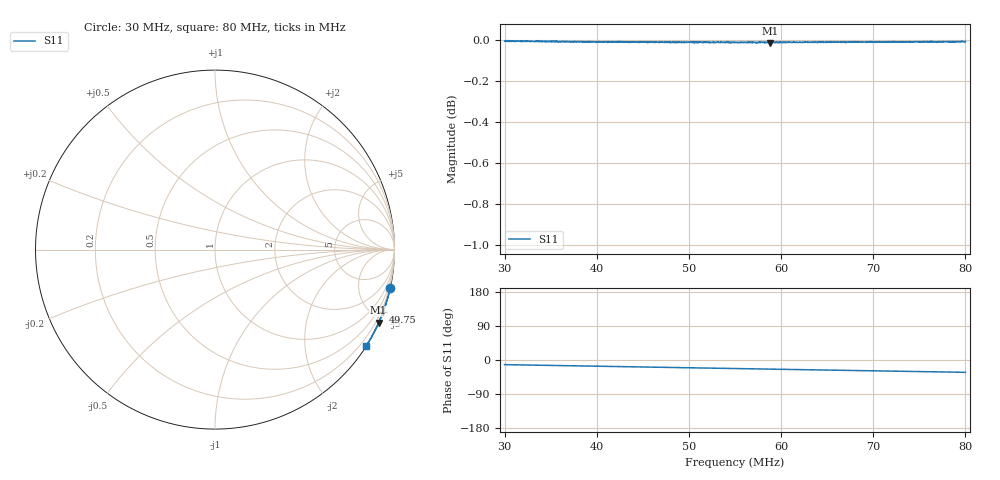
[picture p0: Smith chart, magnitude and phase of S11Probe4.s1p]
#  HZ  S  DB  R  50.00
! Rohde & Schwarz Vector Network Analyzer
! Rohde-Schwarz,ZNB8-4Port,1311601044102961,2.82
! Created: UTC 2/11/2019, 2:16:19 PM
! freq[Hz]  db:S11  ang:S11
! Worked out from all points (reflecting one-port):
!   2001 points, 30 MHz to 80 MHz, reference 50 ohm
!   lowest |S11| = 0.0 dB at 58.8 MHz (marker M1)
!   phase of S11 starts at -12 deg and turns -20 deg over the sweep
!   S11 on the Smith chart (normalised r, x): 30 MHz: 0.04, -9.34; 49.75 MHz: 0.03, -5.56; 80 MHz: 0.01, -3.43
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3e7  -0.01 -12.2
3.02e7  -0.01 -12.3
3.2525e7  -0.01 -13.3
3.5075e7  -0.01 -14.3
3.625e7  -0.01 -14.8
3.78e7  -0.01 -15.4
3.9275e7  -0.01 -16.0
4.0025e7  -0.01 -16.4
4.25e7  -0.01 -17.4
4.5975e7  -0.01 -18.8
4.875e7  -0.01 -20.0
4.975e7  -0.01 -20.4
5.295e7  -0.01 -21.7
5.5e7  -0.01 -22.5
5.72e7  -0.01 -23.4
5.7725e7  -0.01 -23.6
5.88e7  -0.02 -24.1
6.125e7  -0.01 -25.1
6.4275e7  -0.01 -26.3
6.75e7  -0.01 -27.6
6.955e7  -0.01 -28.4
7.2125e7  -0.01 -29.4
7.275e7  -0.01 -29.6
7.375e7  -0.01 -30.0
7.57e7  -0.01 -30.8
7.7925e7  -0.01 -31.7
7.9775e7  -0.01 -32.4
8e7  -0.01 -32.5
